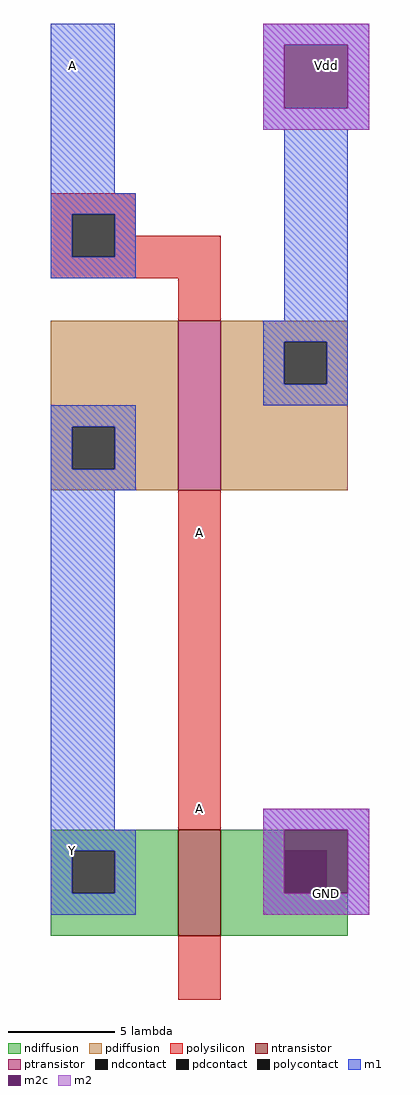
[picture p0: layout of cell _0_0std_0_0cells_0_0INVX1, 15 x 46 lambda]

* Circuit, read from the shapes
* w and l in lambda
.subckt _0_0std_0_0cells_0_0INVX1 GND Vdd Y A
M1 GND A Y VSUBS nfet w=5 l=2
M2 Vdd A Y NWELL pfet w=8 l=2
.ends

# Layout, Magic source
magic
tech TSMC180
<< ndiffusion >>
rect 6 11 12 12
rect 6 9 7 11
rect 9 9 12 11
rect 6 7 12 9
rect 14 11 20 12
rect 14 9 17 11
rect 19 9 20 11
rect 14 7 20 9
<< ndcontact >>
rect 7 9 9 11
rect 17 9 19 11
<< ntransistor >>
rect 12 7 14 12
<< pdiffusion >>
rect 6 31 12 36
rect 6 29 7 31
rect 9 29 12 31
rect 6 28 12 29
rect 14 35 20 36
rect 14 33 17 35
rect 19 33 20 35
rect 14 28 20 33
<< pdcontact >>
rect 7 29 9 31
rect 17 33 19 35
<< ptransistor >>
rect 12 28 14 36
<< polysilicon >>
rect 6 41 10 42
rect 6 39 7 41
rect 9 40 10 41
rect 9 39 14 40
rect 6 38 14 39
rect 12 36 14 38
rect 12 12 14 28
rect 12 4 14 7
<< polycontact >>
rect 7 39 9 41
<< m1 >>
rect 6 42 9 50
rect 16 49 21 50
rect 16 46 17 49
rect 20 46 21 49
rect 16 45 21 46
rect 6 41 10 42
rect 6 39 7 41
rect 9 39 10 41
rect 6 38 10 39
rect 17 36 20 45
rect 16 35 20 36
rect 16 33 17 35
rect 19 33 20 35
rect 16 32 20 33
rect 6 31 10 32
rect 6 29 7 31
rect 9 29 10 31
rect 6 28 10 29
rect 6 12 9 28
rect 16 12 21 13
rect 6 11 10 12
rect 6 9 7 11
rect 9 9 10 11
rect 6 8 10 9
rect 16 9 17 12
rect 20 9 21 12
rect 16 8 21 9
<< m2c >>
rect 17 46 20 49
rect 17 11 20 12
rect 17 9 19 11
rect 19 9 20 11
<< m2 >>
rect 16 49 21 50
rect 16 46 17 49
rect 20 46 21 49
rect 16 45 21 46
rect 16 12 21 13
rect 16 9 17 12
rect 20 9 21 12
rect 16 8 21 9
<< labels >>
rlabel polysilicon 13 13 13 13 3 A
rlabel polysilicon 13 26 13 26 3 A
rlabel m1 7 11 7 11 3 Y
port 3 e
rlabel m1 7 48 7 48 3 A
port 4 e
rlabel m1 19 9 19 9 3 GND
port 1 e
rlabel m2c 19 48 19 48 3 Vdd
port 2 e
<< end >>
